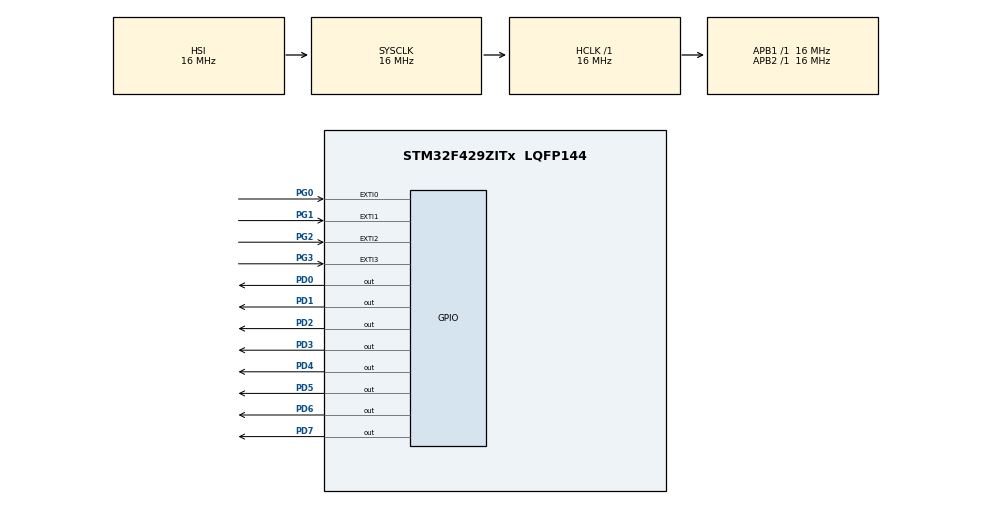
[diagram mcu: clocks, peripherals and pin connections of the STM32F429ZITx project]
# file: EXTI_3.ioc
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Mcu.Family=STM32F4
Mcu.Name=STM32F429ZITx
Mcu.Package=LQFP144
NVIC.EXTI0_IRQn=true\:0\:0\:false\:false\:true\:true\:true\:true
NVIC.EXTI1_IRQn=true\:0\:0\:false\:false\:true\:true\:true\:true
NVIC.EXTI2_IRQn=true\:0\:0\:false\:false\:true\:true\:true\:true
NVIC.EXTI3_IRQn=true\:0\:0\:false\:false\:true\:true\:true\:true
NVIC.PriorityGroup=NVIC_PRIORITYGROUP_4
PA13.Mode=Serial_Wire
PA13.Signal=SYS_JTMS-SWDIO
PA14.Mode=Serial_Wire
PA14.Signal=SYS_JTCK-SWCLK
PD0.GPIO_ModeDefaultOutputPP=GPIO_MODE_OUTPUT_PP
PD0.GPIO_PuPd=GPIO_PULLUP
PD0.GPIO_Speed=GPIO_SPEED_FREQ_HIGH
PD0.PinState=GPIO_PIN_RESET
PD0.Signal=GPIO_Output
PD1.GPIO_ModeDefaultOutputPP=GPIO_MODE_OUTPUT_PP
PD1.GPIO_PuPd=GPIO_PULLUP
PD1.GPIO_Speed=GPIO_SPEED_FREQ_HIGH
PD1.PinState=GPIO_PIN_RESET
PD1.Signal=GPIO_Output
PD2.GPIO_ModeDefaultOutputPP=GPIO_MODE_OUTPUT_PP
PD2.GPIO_PuPd=GPIO_PULLUP
PD2.GPIO_Speed=GPIO_SPEED_FREQ_HIGH
PD2.PinState=GPIO_PIN_RESET
PD2.Signal=GPIO_Output
PD3.GPIO_ModeDefaultOutputPP=GPIO_MODE_OUTPUT_PP
PD3.GPIO_PuPd=GPIO_PULLUP
PD3.GPIO_Speed=GPIO_SPEED_FREQ_HIGH
PD3.PinState=GPIO_PIN_RESET
PD3.Signal=GPIO_Output
PD4.GPIO_ModeDefaultOutputPP=GPIO_MODE_OUTPUT_PP
PD4.GPIO_PuPd=GPIO_PULLUP
PD4.GPIO_Speed=GPIO_SPEED_FREQ_HIGH
PD4.PinState=GPIO_PIN_RESET
PD4.Signal=GPIO_Output
PD5.GPIO_ModeDefaultOutputPP=GPIO_MODE_OUTPUT_PP
PD5.GPIO_PuPd=GPIO_PULLUP
PD5.GPIO_Speed=GPIO_SPEED_FREQ_HIGH
PD5.PinState=GPIO_PIN_RESET
PD5.Signal=GPIO_Output
PD6.GPIO_ModeDefaultOutputPP=GPIO_MODE_OUTPUT_PP
PD6.GPIO_PuPd=GPIO_PULLUP
PD6.GPIO_Speed=GPIO_SPEED_FREQ_HIGH
PD6.PinState=GPIO_PIN_RESET
PD6.Signal=GPIO_Output
PD7.GPIO_ModeDefaultOutputPP=GPIO_MODE_OUTPUT_PP
PD7.GPIO_PuPd=GPIO_PULLUP
PD7.GPIO_Speed=GPIO_SPEED_FREQ_HIGH
PD7.PinState=GPIO_PIN_RESET
PD7.Signal=GPIO_Output
PG0.GPIO_ModeDefaultEXTI=GPIO_MODE_IT_FALLING
PG0.GPIO_PuPd=GPIO_NOPULL
PG0.Signal=GPXTI0
PG1.GPIO_ModeDefaultEXTI=GPIO_MODE_IT_FALLING
PG1.GPIO_PuPd=GPIO_NOPULL
PG1.Signal=GPXTI1
PG2.GPIO_ModeDefaultEXTI=GPIO_MODE_IT_FALLING
PG2.GPIO_PuPd=GPIO_NOPULL
PG2.Signal=GPXTI2
PG3.GPIO_ModeDefaultEXTI=GPIO_MODE_IT_FALLING
PG3.GPIO_PuPd=GPIO_NOPULL
PG3.Signal=GPXTI3
ProjectManager.HeapSize=0x200
ProjectManager.StackSize=0x400
ProjectManager.TargetToolchain=STM32CubeIDE
RCC.AHBFreq_Value=16000000
RCC.APB1Freq_Value=16000000
RCC.APB2Freq_Value=16000000
RCC.CortexFreq_Value=16000000
RCC.HSE_VALUE=25000000
RCC.HSI_VALUE=16000000
RCC.LSE_VALUE=32768
RCC.SYSCLKFreq_VALUE=16000000
RCC.VCOOutputFreq_Value=192000000
board=custom

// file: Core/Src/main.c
/* USER CODE BEGIN Header */
/**
  ******************************************************************************
  * @file           : main.c
  * @brief          : Main program body
  ******************************************************************************
  * @attention
  *
  * Copyright (c) 2022 STMicroelectronics.
  * All rights reserved.
  *
  * This software is licensed under terms that can be found in the LICENSE file
  * in the root directory of this software component.
  * If no LICENSE file comes with this software, it is provided AS-IS.
  *
  ******************************************************************************
  */
/* USER CODE END Header */
#include "main.h"

/* USER CODE BEGIN PV */
int flag_SW1 = 0, flag_SW2 = 0, flag_SW3 = 0, flag_SW4 = 0;
/* USER CODE END PV */

void SystemClock_Config(void);
static void MX_GPIO_Init(void);
/* USER CODE BEGIN PFP */
void LED_OnOff(int, int);
/* USER CODE END PFP */

int main(void)
{
  /* USER CODE BEGIN 1 */
	uint16_t led = 0x01;
  /* USER CODE END 1 */

  /* MCU Configuration--------------------------------------------------------*/

  /* Reset of all peripherals, Initializes the Flash interface and the Systick. */
  HAL_Init();

  /* Configure the system clock */
  SystemClock_Config();

  /* Initialize all configured peripherals */
  MX_GPIO_Init();
  /* USER CODE BEGIN 2 */
  LED_OnOff(LED_ALL, 500);
  /* USER CODE END 2 */

  /* Infinite loop */
  /* USER CODE BEGIN WHILE */
  while (1)
  {
	  led = 0x00;
	  if ( flag_SW1 == 1) {
		  led = led | 0x03;
		  LED_OnOff(led, 300);
		  flag_SW1 =0;
	  }
	  if (flag_SW2 == 1){
		  led = led | 0x0c;
		  LED_OnOff(led, 300);
		  flag_SW2 =0;
	  }
	  if (flag_SW3 == 1){
		  led = led | 0x30;
		  LED_OnOff(led, 300);
		  flag_SW3 =0;
	  }
	  if (flag_SW4 == 1){
		  led = led | 0xc0;
		  LED_OnOff(led, 300);
		  flag_SW4 =0;
	  }
    /* USER CODE END WHILE */

  }
}

void SystemClock_Config(void)
{
  RCC_OscInitTypeDef RCC_OscInitStruct = {0};
  RCC_ClkInitTypeDef RCC_ClkInitStruct = {0};

  /** Configure the main internal regulator output voltage
  */
  __HAL_RCC_PWR_CLK_ENABLE();
  __HAL_PWR_VOLTAGESCALING_CONFIG(PWR_REGULATOR_VOLTAGE_SCALE3);

  /** Initializes the RCC Oscillators according to the specified parameters
  * in the RCC_OscInitTypeDef structure.
  */
  RCC_OscInitStruct.OscillatorType = RCC_OSCILLATORTYPE_HSI;
  RCC_OscInitStruct.HSIState = RCC_HSI_ON;
  RCC_OscInitStruct.HSICalibrationValue = RCC_HSICALIBRATION_DEFAULT;
  RCC_OscInitStruct.PLL.PLLState = RCC_PLL_NONE;
  if (HAL_RCC_OscConfig(&RCC_OscInitStruct) != HAL_OK)
  {
    Error_Handler();
  }

  /** Initializes the CPU, AHB and APB buses clocks
  */
  RCC_ClkInitStruct.ClockType = RCC_CLOCKTYPE_HCLK|RCC_CLOCKTYPE_SYSCLK
                              |RCC_CLOCKTYPE_PCLK1|RCC_CLOCKTYPE_PCLK2;
  RCC_ClkInitStruct.SYSCLKSource = RCC_SYSCLKSOURCE_HSI;
  RCC_ClkInitStruct.AHBCLKDivider = RCC_SYSCLK_DIV1;
  RCC_ClkInitStruct.APB1CLKDivider = RCC_HCLK_DIV1;
  RCC_ClkInitStruct.APB2CLKDivider = RCC_HCLK_DIV1;

  if (HAL_RCC_ClockConfig(&RCC_ClkInitStruct, FLASH_LATENCY_0) != HAL_OK)
  {
    Error_Handler();
  }
}

static void MX_GPIO_Init(void)
{
  GPIO_InitTypeDef GPIO_InitStruct = {0};

  /* GPIO Ports Clock Enable */
  __HAL_RCC_GPIOG_CLK_ENABLE();
  __HAL_RCC_GPIOA_CLK_ENABLE();
  __HAL_RCC_GPIOD_CLK_ENABLE();

  /*Configure GPIO pin Output Level */
  HAL_GPIO_WritePin(GPIOD, GPIO_PIN_0|GPIO_PIN_1|GPIO_PIN_2|GPIO_PIN_3
                          |GPIO_PIN_4|GPIO_PIN_5|GPIO_PIN_6|GPIO_PIN_7, GPIO_PIN_RESET);

  /*Configure GPIO pins : PG0 PG1 PG2 PG3 */
  GPIO_InitStruct.Pin = GPIO_PIN_0|GPIO_PIN_1|GPIO_PIN_2|GPIO_PIN_3;
  GPIO_InitStruct.Mode = GPIO_MODE_IT_FALLING;
  GPIO_InitStruct.Pull = GPIO_NOPULL;
  HAL_GPIO_Init(GPIOG, &GPIO_InitStruct);

  /*Configure GPIO pins : PD0 PD1 PD2 PD3
                           PD4 PD5 PD6 PD7 */
  GPIO_InitStruct.Pin = GPIO_PIN_0|GPIO_PIN_1|GPIO_PIN_2|GPIO_PIN_3
                          |GPIO_PIN_4|GPIO_PIN_5|GPIO_PIN_6|GPIO_PIN_7;
  GPIO_InitStruct.Mode = GPIO_MODE_OUTPUT_PP;
  GPIO_InitStruct.Pull = GPIO_PULLUP;
  GPIO_InitStruct.Speed = GPIO_SPEED_FREQ_HIGH;
  HAL_GPIO_Init(GPIOD, &GPIO_InitStruct);

  /* EXTI interrupt init*/
  HAL_NVIC_SetPriority(EXTI0_IRQn, 0, 0);
  HAL_NVIC_EnableIRQ(EXTI0_IRQn);

  HAL_NVIC_SetPriority(EXTI1_IRQn, 0, 0);
  HAL_NVIC_EnableIRQ(EXTI1_IRQn);

  HAL_NVIC_SetPriority(EXTI2_IRQn, 0, 0);
  HAL_NVIC_EnableIRQ(EXTI2_IRQn);

  HAL_NVIC_SetPriority(EXTI3_IRQn, 0, 0);
  HAL_NVIC_EnableIRQ(EXTI3_IRQn);

}

/* USER CODE BEGIN 4 */
void LED_OnOff(int led, int interval){
	HAL_GPIO_WritePin(GPIO_LED, led, GPIO_PIN_SET);
	HAL_GPIO_WritePin(GPIO_LED_Nucleo, led, GPIO_PIN_SET);

	HAL_Delay(interval);

	HAL_GPIO_WritePin(GPIO_LED, led, GPIO_PIN_RESET);
	HAL_GPIO_WritePin(GPIO_LED_Nucleo, led, GPIO_PIN_RESET);
}
void HAL_GPIO_EXTI_Callback(uint16_t GPIO_PIN){
	if (GPIO_PIN == SW1) flag_SW1 = 1;
	if (GPIO_PIN == SW2) flag_SW2 = 1;
	if (GPIO_PIN == SW3) flag_SW3 = 1;
	if (GPIO_PIN == SW4) flag_SW4 = 1;
}
/* USER CODE END 4 */

void Error_Handler(void)
{
  __disable_irq();
  while (1)
  {
  }
}
